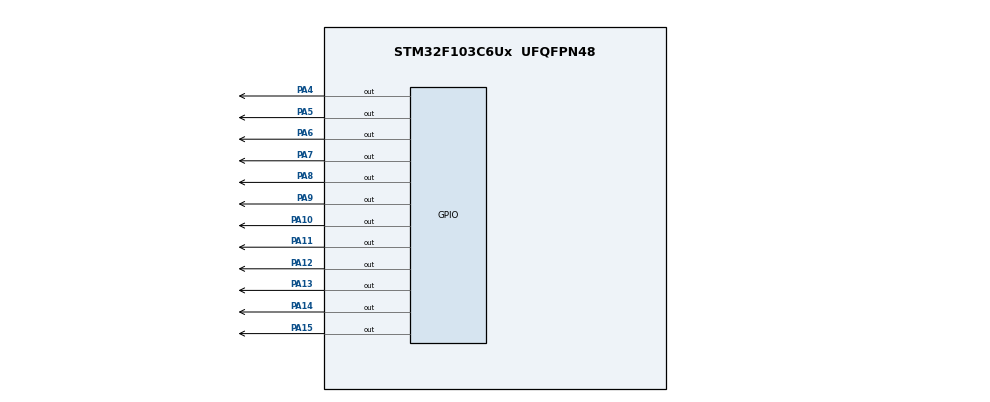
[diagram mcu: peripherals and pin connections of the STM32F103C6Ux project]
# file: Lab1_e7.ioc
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Mcu.Family=STM32F1
Mcu.Name=STM32F103C6Ux
Mcu.Package=UFQFPN48
NVIC.PriorityGroup=NVIC_PRIORITYGROUP_4
PA10.PinState=GPIO_PIN_SET
PA10.Signal=GPIO_Output
PA11.PinState=GPIO_PIN_SET
PA11.Signal=GPIO_Output
PA12.PinState=GPIO_PIN_SET
PA12.Signal=GPIO_Output
PA13.PinState=GPIO_PIN_SET
PA13.Signal=GPIO_Output
PA14.PinState=GPIO_PIN_SET
PA14.Signal=GPIO_Output
PA15.PinState=GPIO_PIN_SET
PA15.Signal=GPIO_Output
PA4.PinState=GPIO_PIN_SET
PA4.Signal=GPIO_Output
PA5.PinState=GPIO_PIN_SET
PA5.Signal=GPIO_Output
PA6.PinState=GPIO_PIN_SET
PA6.Signal=GPIO_Output
PA7.PinState=GPIO_PIN_SET
PA7.Signal=GPIO_Output
PA8.PinState=GPIO_PIN_SET
PA8.Signal=GPIO_Output
PA9.PinState=GPIO_PIN_SET
PA9.Signal=GPIO_Output
ProjectManager.HeapSize=0x200
ProjectManager.StackSize=0x400
ProjectManager.TargetToolchain=STM32CubeIDE
RCC.APB1Freq_Value=8000000
RCC.APB2Freq_Value=8000000
VP_SYS_VS_ND.Mode=No_Debug
board=custom

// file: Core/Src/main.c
/* USER CODE BEGIN Header */
/**
  ******************************************************************************
  * @file           : main.c
  * @brief          : Main program body
  ******************************************************************************
  * @attention
  *
  * <h2><center>&copy; Copyright (c) 2026 STMicroelectronics.
  * All rights reserved.</center></h2>
  *
  * This software component is licensed by ST under BSD 3-Clause license,
  * the "License"; You may not use this file except in compliance with the
  * License. You may obtain a copy of the License at:
  *                        opensource.org/licenses/BSD-3-Clause
  *
  ******************************************************************************
  */
/* USER CODE END Header */
#include "main.h"

void SystemClock_Config(void);
static void MX_GPIO_Init(void);

/* USER CODE BEGIN 0 */
void clearAllClock(void)
{
    HAL_GPIO_WritePin(
        GPIOA,
        GPIO_PIN_4  |
        GPIO_PIN_5  |
        GPIO_PIN_6  |
        GPIO_PIN_7  |
        GPIO_PIN_8  |
        GPIO_PIN_9  |
        GPIO_PIN_10 |
        GPIO_PIN_11 |
        GPIO_PIN_12 |
        GPIO_PIN_13 |
        GPIO_PIN_14 |
        GPIO_PIN_15,
        GPIO_PIN_SET
    );
}
/* USER CODE END 0 */

int main(void)
{

  /* MCU Configuration--------------------------------------------------------*/

  /* Reset of all peripherals, Initializes the Flash interface and the Systick. */
  HAL_Init();

  /* Configure the system clock */
  SystemClock_Config();

  /* Initialize all configured peripherals */
  MX_GPIO_Init();

  /* Infinite loop */
  /* USER CODE BEGIN WHILE */
  /* USER CODE BEGIN WHILE */
  while (1)
  {
      clearAllClock();
  }
    /* USER CODE END WHILE */

}

void SystemClock_Config(void)
{
  RCC_OscInitTypeDef RCC_OscInitStruct = {0};
  RCC_ClkInitTypeDef RCC_ClkInitStruct = {0};

  /** Initializes the RCC Oscillators according to the specified parameters
  * in the RCC_OscInitTypeDef structure.
  */
  RCC_OscInitStruct.OscillatorType = RCC_OSCILLATORTYPE_HSI;
  RCC_OscInitStruct.HSIState = RCC_HSI_ON;
  RCC_OscInitStruct.HSICalibrationValue = RCC_HSICALIBRATION_DEFAULT;
  RCC_OscInitStruct.PLL.PLLState = RCC_PLL_NONE;
  if (HAL_RCC_OscConfig(&RCC_OscInitStruct) != HAL_OK)
  {
    Error_Handler();
  }
  /** Initializes the CPU, AHB and APB buses clocks
  */
  RCC_ClkInitStruct.ClockType = RCC_CLOCKTYPE_HCLK|RCC_CLOCKTYPE_SYSCLK
                              |RCC_CLOCKTYPE_PCLK1|RCC_CLOCKTYPE_PCLK2;
  RCC_ClkInitStruct.SYSCLKSource = RCC_SYSCLKSOURCE_HSI;
  RCC_ClkInitStruct.AHBCLKDivider = RCC_SYSCLK_DIV1;
  RCC_ClkInitStruct.APB1CLKDivider = RCC_HCLK_DIV1;
  RCC_ClkInitStruct.APB2CLKDivider = RCC_HCLK_DIV1;

  if (HAL_RCC_ClockConfig(&RCC_ClkInitStruct, FLASH_LATENCY_0) != HAL_OK)
  {
    Error_Handler();
  }
}

static void MX_GPIO_Init(void)
{
  GPIO_InitTypeDef GPIO_InitStruct = {0};

  /* GPIO Ports Clock Enable */
  __HAL_RCC_GPIOA_CLK_ENABLE();

  /*Configure GPIO pin Output Level */
  HAL_GPIO_WritePin(GPIOA, GPIO_PIN_4|GPIO_PIN_5|GPIO_PIN_6|GPIO_PIN_7
                          |GPIO_PIN_8|GPIO_PIN_9|GPIO_PIN_10|GPIO_PIN_11
                          |GPIO_PIN_12|GPIO_PIN_13|GPIO_PIN_14|GPIO_PIN_15, GPIO_PIN_SET);

  /*Configure GPIO pins : PA4 PA5 PA6 PA7
                           PA8 PA9 PA10 PA11
                           PA12 PA13 PA14 PA15 */
  GPIO_InitStruct.Pin = GPIO_PIN_4|GPIO_PIN_5|GPIO_PIN_6|GPIO_PIN_7
                          |GPIO_PIN_8|GPIO_PIN_9|GPIO_PIN_10|GPIO_PIN_11
                          |GPIO_PIN_12|GPIO_PIN_13|GPIO_PIN_14|GPIO_PIN_15;
  GPIO_InitStruct.Mode = GPIO_MODE_OUTPUT_PP;
  GPIO_InitStruct.Pull = GPIO_NOPULL;
  GPIO_InitStruct.Speed = GPIO_SPEED_FREQ_LOW;
  HAL_GPIO_Init(GPIOA, &GPIO_InitStruct);

}

void Error_Handler(void)
{
  __disable_irq();
  while (1)
  {
  }
}

/************************ (C) COPYRIGHT STMicroelectronics *****END OF FILE****/
